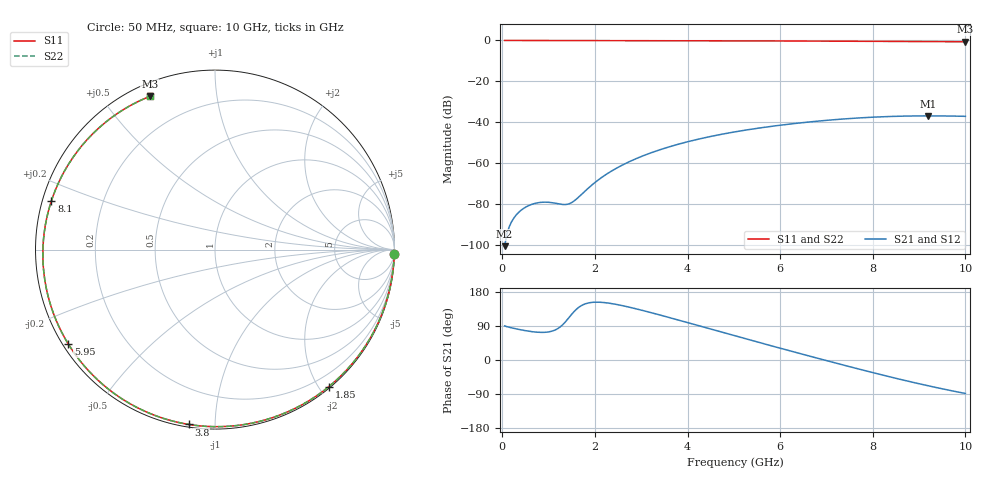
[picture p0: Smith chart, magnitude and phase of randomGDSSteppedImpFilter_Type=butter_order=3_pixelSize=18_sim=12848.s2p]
! freq	dB(S11)	phase(S11)	dB(S12)	phase(S12)
!  dB(S21)	phase(S21)	dB(S22)	phase(S22)
!S-par simulation data
#  GHz  S  DB  R 50
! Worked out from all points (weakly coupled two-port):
!   200 points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, 50 MHz to 10 GHz, reference 50 ohm
!   highest |S21| = -36.81 dB at 9.2 GHz (marker M1); lowest = -100.4 dB at 50 MHz (marker M2)
!   lowest |S11| = -0.7 dB at 10 GHz (marker M3), VSWR 26.70, Z = 2.69 + j33 ohm
!   |S11| at or under -10 dB: nowhere
!   |S22| runs from -0.7 to 0.0 dB; largest |S21 - S12| = 0
!   S11 on the Smith chart (normalised r, x): 50 MHz: 1, -85; 1.85 GHz: 0.02, -2.13; 3.8 GHz: 0.01, -0.86; 5.95 GHz: 0.02, -0.29; 8.1 GHz: 0.03, +0.15; 10 GHz: 0.05, +0.66
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0.05  -0.00 -1.3  -100.40 90.0  -100.40 90.0  -0.00 -1.3
0.6  -0.02 -16.6  -80.31 75.5  -80.31 75.5  -0.02 -16.6
0.9  -0.03 -24.8  -78.92 73.0  -78.92 73.0  -0.03 -24.8
1.4  -0.05 -38.4  -79.97 105.9  -79.97 105.9  -0.05 -38.4
1.55  -0.05 -42.3  -78.34 127.8  -78.34 127.8  -0.05 -42.3
1.75  -0.06 -47.6  -74.31 146.1  -74.31 146.1  -0.06 -47.6
1.85  -0.06 -50.3  -72.22 150.3  -72.22 150.3  -0.06 -50.3
2.15  -0.07 -58.0  -66.80 152.1  -66.80 152.1  -0.07 -58.0
2.5  -0.09 -67.0  -61.92 145.8  -61.92 145.8  -0.09 -67.0
2.9  -0.10 -76.9  -57.59 134.8  -57.59 134.8  -0.10 -76.9
3.4  -0.12 -89.1  -53.37 118.9  -53.37 118.9  -0.12 -89.1
3.8  -0.13 -98.6  -50.65 105.5  -50.65 105.5  -0.13 -98.6
4.4  -0.16 -112.5  -47.33 85.1  -47.33 85.1  -0.16 -112.5
5.05  -0.19 -127.2  -44.51 63.0  -44.51 63.0  -0.19 -127.2
5.95  -0.25 -147.3  -41.52 32.8  -41.52 32.8  -0.25 -147.3
6.7  -0.30 -164.0  -39.62 8.1  -39.62 8.1  -0.30 -164.0
7.4  -0.37 180.0  -38.27 -14.4  -38.27 -14.4  -0.37 180.0
8.1  -0.44 163.4  -37.34 -36.3  -37.34 -36.3  -0.44 163.3
8.35  -0.46 157.2  -37.12 -43.9  -37.12 -43.9  -0.46 157.2
8.75  -0.51 147.1  -36.89 -55.6  -36.89 -55.6  -0.51 147.1
9.2  -0.56 135.3  -36.81 -68.1  -36.81 -68.1  -0.56 135.3
10  -0.65 113.1  -37.03 -88.3  -37.03 -88.3  -0.65 113.1
